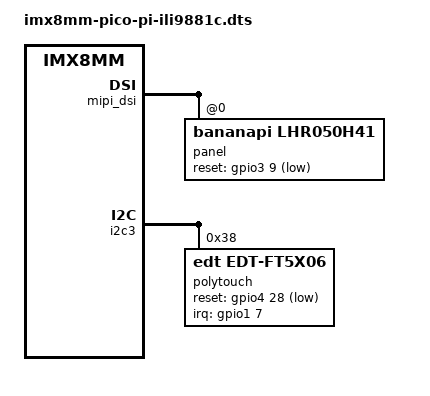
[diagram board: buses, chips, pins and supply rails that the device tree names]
/*
 * Copyright 2018 Technexion Ltd.
 * Copyright 2018 NXP
 *
 * Author: Richard Hu <richard.hu@technexion.com>
 *
 * This program is free software; you can redistribute it and/or
 * modify it under the terms of the GNU General Public License
 * as published by the Free Software Foundation; either version 2
 * of the License, or (at your option) any later version.
 *
 * This program is distributed in the hope that it will be useful,
 * but WITHOUT ANY WARRANTY; without even the implied warranty of
 * MERCHANTABILITY or FITNESS FOR A PARTICULAR PURPOSE.  See the
 * GNU General Public License for more details.
 */

#include "imx8mm-pico-pi.dts"

/ {
	backlight_mipi {
		status = "okay";
	};
};

&mipi_dsi {
	status = "okay";

	panel@0 {
		compatible = "bananapi,lhr050h41", "ilitek,ili9881c";
		pinctrl-0 = <&pinctrl_mipi_dsi_rst>;
		reset-gpio = <&gpio3 9 GPIO_ACTIVE_LOW>;
		reg = <0>;
		timing-mode = <0>;
		video-mode = <2>;	/* 0: burst mode
					 * 1: non-burst mode with sync event
					 * 2: non-burst mode with sync pulse
					 */
		status = "okay";
	};
};

&i2c3 {
	polytouch: edt-ft5x06@38 {
		compatible = "edt,edt-ft5x06";
		reg = <0x38>;
		pinctrl-names = "default";
		pinctrl-0 = <&pinctrl_touch_irq &pinctrl_touch_rst>;
		interrupt-parent = <&gpio1>;
		interrupts = <7 IRQ_TYPE_EDGE_FALLING>;
		reset-gpios = <&gpio4 28 GPIO_ACTIVE_LOW>;
		touchscreen-size-x = <720>;
		touchscreen-size-y = <1280>;
	};
};
